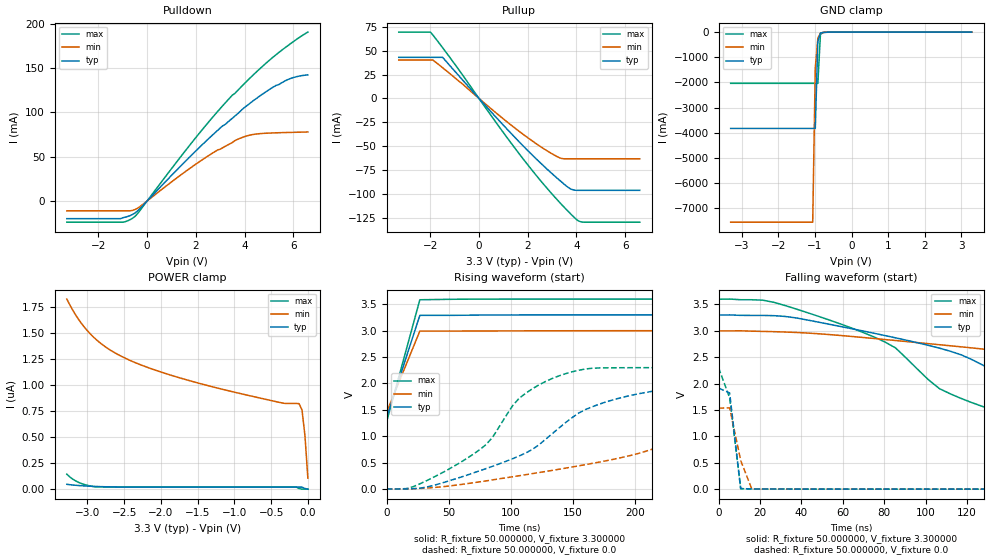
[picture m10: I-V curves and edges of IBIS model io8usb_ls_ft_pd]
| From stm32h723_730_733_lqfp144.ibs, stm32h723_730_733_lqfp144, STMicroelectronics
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|   Model io8usb_ls_ft_pd
[Model]  io8usb_ls_ft_pd
Model_type I/O
Polarity   Non-Inverting
Enable   Active-Low
Vinl =   0.990000V
Vinh =   2.310000V
Vmeas =  1.650000V
Cref =   50.000000pF
Rref =   100.000000M
Vref =   0.0V
C_comp   7.942700pF   7.938700pF   8.018200pF
[Temperature Range]   25.000000   0.140000k   -40.000000
[Pullup Reference]   3.300000V   3.000000V   3.600000V
[Pulldown Reference]   0.0V   0.0V   0.0V
[POWER Clamp Reference]   3.300000V   3.000000V   3.600000V
[GND Clamp Reference]   0.0V   0.0V   0.0V
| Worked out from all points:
|   slope of the pulldown table from 0 to 0.495 V, typ, clamps not added: 34.5 ohm
|   slope of the pullup table from 0 to 0.495 V, typ, clamps not added: 35.5 ohm
|   GND clamp passes 1 mA (typ) near -0.48 V on its own axis
|   rising waveform, R_fixture 50.000000, V_fixture 3.300000: 20-80 % time 16.1ns typ, 16.1ns min, 16.1ns max; typ from 1.36 V to 3.3 V
|   rising waveform, R_fixture 50.000000, V_fixture 0.0: 20-80 % time 83.2ns typ, 158ns min, 57.3ns max; typ from 0 V to 1.92 V
|   falling waveform, R_fixture 50.000000, V_fixture 3.300000: 20-80 % time 82.6ns typ, 151ns min, 57.2ns max; typ from 3.3 V to 1.36 V
|   falling waveform, R_fixture 50.000000, V_fixture 0.0: 20-80 % time 3.39ns typ, 6.01ns min, 4.96ns max; typ from 1.92 V to 0 V
[Pulldown]
|Voltage   I(typ)   I(min)   I(max)
-3.3V     -20mA      -11.16mA   -24mA
-1.1V     -20mA      -11.16mA   -24mA
-1V       -19mA      -11.16mA   -24mA
-700mV    -16.56mA   -11.15mA   -21.11mA
-500mV    -13.66mA   -9.711mA   -17.44mA
2.1V      59.15mA    43.4mA     74.94mA
3.1V      84.72mA    59.98mA    107.4mA
3.7V      97.98mA    69.32mA    124.2mA
4.3V      111.8mA    74.73mA    140.7mA
5.3V      130.5mA    76.87mA    165.2mA
6V        139.2mA    77.4mA     179.7mA
6.6V      142.3mA    77.85mA    190.5mA
[Pullup]
|Voltage   I(typ)   I(min)   I(max)
-3.3V     42.95mA    40.16mA    69.3mA
-2V       42.95mA    40.16mA    69.3mA
-1.9V     42.95mA    40.16mA    66.29mA
-1.5V     42.95mA    32.12mA    53.06mA
1.1V      -30.73mA   -23.47mA   -39.23mA
2.4V      -64.42mA   -48.21mA   -82.02mA
3.3V      -85.36mA   -61.91mA   -108.4mA
3.7V      -93.68mA   -63.1mA    -119mA
4V        -95.99mA   -63.1mA    -126.5mA
4.1V      -96mA      -63.1mA    -128.2mA
4.3V      -96mA      -63.1mA    -129.3mA
6.6V      -96mA      -63.1mA    -129.3mA
[GND_clamp]
|Voltage   I(typ)   I(min)   I(max)
-3.3V     -3.828A    -7.552A    -2.036A
-1.06V    -3.828A    -7.552A    -2.036A
-990mV    -3.828A    -1.425A    -2.036A
-920mV    -368.6mA   -243.1mA   -2.036A
-850mV    -40.93mA   -46.27mA   -98.44mA
-780mV    -13.14mA   -14.53mA   -15.81mA
-500mV    -1.208mA   -1.769mA   -1.059mA
3.28V     0A         -16.27nA   0A
[POWER_clamp]
|Voltage   I(typ)   I(min)   I(max)
-3.28V    46.69nA    1.827uA    143.8nA
-3.12V    34.88nA    1.631uA    65.25nA
-2.92V    26.9nA     1.463uA    25.4nA
-2.72V    22.39nA    1.351uA    21.71nA
-2.44V    19.68nA    1.244uA    21.71nA
-1.96V    19.68nA    1.117uA    21.71nA
-1.32V    19.68nA    987.7nA    21.71nA
-360mV    19.68nA    829.8nA    21.71nA
-120mV    19.68nA    821.7nA    6.26nA
-80mV     19.68nA    761.5nA    0A
-40mV     6.697nA    517.9nA    0A
0V        0A         105.7nA    0A
[Ramp]
| variable   typ   min   max
dV/dt_r  1.14900/83.06746n   0.92159/0.15778u   1.37952/57.20277n
dV/dt_f  1.16592/82.52324n   0.92568/0.15103u   1.39266/57.09592n
R_load = 50.000000
[Rising Waveform]
R_fixture= 50.000000
V_fixture= 3.300000
V_fixture_min= 3.000000
V_fixture_max= 3.600000
|time   V(typ)   V(min)   V(max)
0s        1.356V     1.456V     1.278V
26.69ns   3.29V      2.992V     3.586V
106.8ns   3.299V     2.996V     3.599V
2.643us   3.299V     2.999V     3.599V
[Rising Waveform]
R_fixture= 50.000000
V_fixture= 0.0
V_fixture_min= 0.0
V_fixture_max= 0.0
|time   V(typ)   V(min)   V(max)
0s        404.7nV    10.43uV    581nV
21.35ns   2.305mV    3.325mV    41.44mV
69.4ns    299.2mV    114.8mV    651.9mV
101.4ns   572.5mV    230mV      1.578V
133.5ns   1.049V     351.2mV    2.095V
170.8ns   1.603V     506.4mV    2.293V
224.2ns   1.883V     833mV      2.299V
282.9ns   1.913V     1.243V     2.299V
400.4ns   1.915V     1.522V     2.299V
2.659us   1.915V     1.536V     2.299V
[Falling Waveform]
R_fixture= 50.000000
V_fixture= 3.300000
V_fixture_min= 3.000000
V_fixture_max= 3.600000
|time   V(typ)   V(min)   V(max)
0s        3.299V     2.999V     3.599V
26.69ns   3.288V     2.985V     3.541V
64.06ns   3.043V     2.895V     3.057V
85.42ns   2.869V     2.817V     2.679V
101.4ns   2.724V     2.757V     2.072V
133.5ns   2.231V     2.632V     1.492V
170.8ns   1.671V     2.469V     1.282V
277.6ns   1.357V     1.729V     1.278V
400.4ns   1.356V     1.465V     1.278V
2.659us   1.356V     1.456V     1.278V
[Falling Waveform]
R_fixture= 50.000000
V_fixture= 0.0
V_fixture_min= 0.0
V_fixture_max= 0.0
|time   V(typ)   V(min)   V(max)
0s        1.915V     1.536V     2.299V
5.339ns   1.823V     1.541V     1.73V
10.68ns   12.97mV    543.7mV    8.383mV
16.02ns   2.824mV    4.124mV    4.853mV
21.35ns   2.335mV    2.239mV    3.851mV
2.659us   404.7nV    10.43uV    581nV
